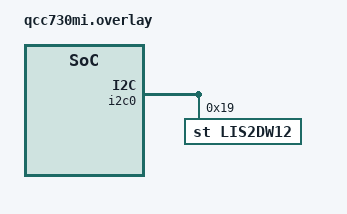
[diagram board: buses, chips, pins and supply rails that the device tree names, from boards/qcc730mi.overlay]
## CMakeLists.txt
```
# Copyright (c) 2025 Qualcomm Technologies, Inc. and/or its subsidiaries
# SPDX-License-Identifier: BSD-3-Clause-Clear

cmake_minimum_required(VERSION 3.20.0)

find_package(Zephyr REQUIRED HINTS $ENV{ZEPHYR_BASE})
project(i2c_lis2dw12_test)

FILE(GLOB app_sources src/*.c)
target_sources(app PRIVATE ${app_sources})
```

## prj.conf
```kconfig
# Copyright (c) 2025 Qualcomm Technologies, Inc. and/or its subsidiaries
# SPDX-License-Identifier: BSD-3-Clause-Clear
CONFIG_ZTEST=y
CONFIG_I2C=y
CONFIG_SENSOR=y
CONFIG_LIS2DW12=y
CONFIG_CBPRINTF_FP_SUPPORT=y
CONFIG_PM_DEVICE=y
CONFIG_MAIN_STACK_SIZE=2048
CONFIG_COUNTER=y
CONFIG_IDLE_STACK_SIZE=512
CONFIG_WIFI=y
CONFIG_WIFI_QCOM=y
CONFIG_NET_L2_WIFI_MGMT=y
CONFIG_NET_L2_ETHERNET=y
CONFIG_NETWORKING=y
CONFIG_NET_IPV4=y
CONFIG_NET_TCP=y
CONFIG_NET_UDP=y
CONFIG_NET_MGMT=y
CONFIG_ETH_DRIVER=n
CONFIG_TEST_RANDOM_GENERATOR=y
CONFIG_NET_L2_ETHERNET=y
CONFIG_NET_SHELL=y
CONFIG_NET_DHCPV4=y
CONFIG_NET_DHCPV4_SERVER=y
CONFIG_WIFI_QCOM_AUTO_DHCPV4=y
CONFIG_WIFI=y
CONFIG_WIFI_QCOM=y
CONFIG_NET_L2_WIFI_SHELL=y
CONFIG_NET_L2_WIFI_MGMT=y
```

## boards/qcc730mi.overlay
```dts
/*
 * Copyright (c) Qualcomm Technologies, Inc. and/or its subsidiaries.
 *
 * SPDX-License-Identifier: BSD-3-Clause-Clear
 */

&i2c0 {
	status = "okay";

	lis2dw12@19 {
		compatible = "st,lis2dw12";
		reg = <0x19>;
	};
};
```

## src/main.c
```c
/*
 * Copyright (c) 2025 Qualcomm Technologies, Inc. and/or its subsidiaries
 *
 * SPDX-License-Identifier: BSD-3-Clause-Clear
 */

#include <zephyr/kernel.h>
#include <zephyr/device.h>
#include <zephyr/drivers/sensor.h>
#include <zephyr/drivers/i2c.h>
#include <zephyr/ztest.h>
#include <zephyr/pm/device.h>
#include "ferm_i2c.h"

#define CONTINUOUS_TRANSFER_COUNT_TEST 1000U
#define LIS2DW12_DUMMY_INIT_VAL        99
#define LIS2DW12_TEST_TOLERANCE        0.9
#define LIS2DW12_STATIONARY_VAL        (double)0 /* Measurement result when sensor is not moved */
#define LIS2DW12_EARTH_ACCEL_VAL       (double)9.81 /* Earth acceleration in m/s^2 */

static const struct device *const lis2dw12_dev = DEVICE_DT_GET_ONE(st_lis2dw12);
static const struct device *const i2c_dev = DEVICE_DT_GET_ONE(qcom_qcc730_i2c);

ZTEST(lis2dw12_sensor_api_test, test_read_accel_values)
{
	struct sensor_value x_val = {LIS2DW12_DUMMY_INIT_VAL, LIS2DW12_DUMMY_INIT_VAL},
			    y_val = {LIS2DW12_DUMMY_INIT_VAL, LIS2DW12_DUMMY_INIT_VAL},
			    z_val = {LIS2DW12_DUMMY_INIT_VAL, LIS2DW12_DUMMY_INIT_VAL};
	int32_t ret = 0;

	ret = sensor_sample_fetch_chan(lis2dw12_dev, SENSOR_CHAN_ACCEL_XYZ);
	zassert_ok(ret, "Sample fetch failed!");

	ret = sensor_channel_get(lis2dw12_dev, SENSOR_CHAN_ACCEL_X, &x_val);
	zassert_ok(ret, "Failed to get X-axis acceleration!");

	ret = sensor_channel_get(lis2dw12_dev, SENSOR_CHAN_ACCEL_Y, &y_val);
	zassert_ok(ret, "Failed to get Y-axis acceleration!");

	ret = sensor_channel_get(lis2dw12_dev, SENSOR_CHAN_ACCEL_Z, &z_val);
	zassert_ok(ret, "Failed to get Z-axis acceleration!");

	TC_PRINT("Acceleration read OK: X=%.3f, Y=%.3f, Z=%.3f (m/s^2)\n",
		 (double)sensor_value_to_double(&x_val), (double)sensor_value_to_double(&y_val),
		 (double)sensor_value_to_double(&z_val));
}

ZTEST(lis2dw12_sensor_api_test, test_read_accel_values_fast_mode)
{
	struct sensor_value x_val = {LIS2DW12_DUMMY_INIT_VAL, LIS2DW12_DUMMY_INIT_VAL},
			    y_val = {LIS2DW12_DUMMY_INIT_VAL, LIS2DW12_DUMMY_INIT_VAL},
			    z_val = {LIS2DW12_DUMMY_INIT_VAL, LIS2DW12_DUMMY_INIT_VAL};
	int32_t ret = 0;

	/* Set fast speed mode */
	ret = i2c_configure(i2c_dev, I2C_MODE_CONTROLLER | I2C_SPEED_SET(I2C_SPEED_FAST));
	zassert_ok(ret, "Setting fast mode failed");

	ret = sensor_sample_fetch_chan(lis2dw12_dev, SENSOR_CHAN_ACCEL_XYZ);
	zassert_ok(ret, "Channel not specified, sample fetch from sensor should fail!");

	ret = sensor_channel_get(lis2dw12_dev, SENSOR_CHAN_ACCEL_X, &x_val);
	zassert_ok(ret, "Failed to get X-axis acceleration!");

	ret = sensor_channel_get(lis2dw12_dev, SENSOR_CHAN_ACCEL_Y, &y_val);
	zassert_ok(ret, "Failed to get Y-axis acceleration!");

	ret = sensor_channel_get(lis2dw12_dev, SENSOR_CHAN_ACCEL_Z, &z_val);
	zassert_ok(ret, "Failed to get Z-axis acceleration!");

	TC_PRINT("Acceleration read OK: X=%.3f, Y=%.3f, Z=%.3f (m/s^2)\n",
		 (double)sensor_value_to_double(&x_val), (double)sensor_value_to_double(&y_val),
		 (double)sensor_value_to_double(&z_val));

	/* Return to standard speed */
	ret = i2c_configure(i2c_dev, I2C_MODE_CONTROLLER | I2C_SPEED_SET(I2C_SPEED_STANDARD));
	zassert_ok(ret, "Setting standard mode failed");
}

ZTEST(lis2dw12_sensor_api_test, test_free_standing)
{
	struct sensor_value x = {LIS2DW12_DUMMY_INIT_VAL, LIS2DW12_DUMMY_INIT_VAL},
			    y = {LIS2DW12_DUMMY_INIT_VAL, LIS2DW12_DUMMY_INIT_VAL},
			    z = {LIS2DW12_DUMMY_INIT_VAL, LIS2DW12_DUMMY_INIT_VAL};
	int32_t ret = 0;

	ret = sensor_sample_fetch_chan(lis2dw12_dev, SENSOR_CHAN_ACCEL_XYZ);
	zassert_ok(ret, "Sample fetch failed!");

	ret = sensor_channel_get(lis2dw12_dev, SENSOR_CHAN_ACCEL_X, &x);
	zassert_ok(ret, "Failed to get X-axis acceleration!");

	ret = sensor_channel_get(lis2dw12_dev, SENSOR_CHAN_ACCEL_Y, &y);
	zassert_ok(ret, "Failed to get Y-axis acceleration!");

	ret = sensor_channel_get(lis2dw12_dev, SENSOR_CHAN_ACCEL_Z, &z);
	zassert_ok(ret, "Failed to get Z-axis acceleration!");

	zassert_within(sensor_value_to_double(&x), LIS2DW12_STATIONARY_VAL, LIS2DW12_TEST_TOLERANCE,
		       "Sensor should not move! X-axis acceleration is not close to 0!");
	zassert_within(sensor_value_to_double(&y), LIS2DW12_STATIONARY_VAL, LIS2DW12_TEST_TOLERANCE,
		       "Sensor should not move! Y-axis acceleration is not close to 0!");
	zassert_within(sensor_value_to_double(&z),
		       LIS2DW12_EARTH_ACCEL_VAL - LIS2DW12_TEST_TOLERANCE,
		       LIS2DW12_EARTH_ACCEL_VAL + LIS2DW12_TEST_TOLERANCE,
		       "Sensor should not move! Z-axis acceleration is not close to 0!");
}

ZTEST(lis2dw12_sensor_api_test, test_continuous_data_transfer)
{
	struct sensor_value x = {LIS2DW12_DUMMY_INIT_VAL, LIS2DW12_DUMMY_INIT_VAL};
	int32_t ret = 0;

	TC_PRINT("Starting continuous data transfer test (%u samples)...\n",
		 CONTINUOUS_TRANSFER_COUNT_TEST);

	for (uint32_t i = 0; i < CONTINUOUS_TRANSFER_COUNT_TEST; i++) {
		ret = sensor_sample_fetch_chan(lis2dw12_dev, SENSOR_CHAN_ACCEL_X);
		zassert_ok(ret, "Sample fetch failed!");
		ret = sensor_channel_get(lis2dw12_dev, SENSOR_CHAN_ACCEL_X, &x);
		zassert_ok(ret, "sensor_channel_get failed on iteration %u!", i);
		TC_PRINT("Got sample %u: X=%.3f m/s^2\n", i, (double)sensor_value_to_double(&x));
		zassert_within(sensor_value_to_double(&x), LIS2DW12_STATIONARY_VAL,
			       LIS2DW12_TEST_TOLERANCE,
			       "Sensor should not move! X-axis accel is not close to 0!");
		/* Ensure we get fresh data from sample on each iteration */
		x.val1 = LIS2DW12_DUMMY_INIT_VAL;
		x.val2 = LIS2DW12_DUMMY_INIT_VAL;
		k_sleep(K_MSEC(5));
	}
}

ZTEST(lis2dw12_sensor_api_test, test_error_handling)
{
	int ret;

	/* Verify that configuration without Controller mode will fail */
	ret = i2c_configure(i2c_dev, 0);
	zassert_equal(ret, -EINVAL,
		      "Configuration without CONTROLLER mode set should be impossible");

	/* Verify that zero messages to send will return without error */
	ret = i2c_transfer(i2c_dev, NULL, 0, 0);
	zassert_equal(ret, 0, "Call i2c_transfer without messages failed");

	/* Verify that messages with 10bit addressing will return error */
	struct i2c_msg msg_with_10bit_addr = {.flags = I2C_MSG_ADDR_10_BITS};
	ret = i2c_transfer(i2c_dev, &msg_with_10bit_addr, 1, 0);
	zassert_equal(ret, -ENOTSUP, "10bit addressing wasn't rejected properly");
}

ZTEST(lis2dw12_sensor_api_test, test_suspend_resume_success)
{
	int ret;

	/* First do a normal I2C transfer to ensure device is working
	 * (WHO_AM_I register) */
	uint8_t write_buf[1] = {0x44};
	ret = i2c_write(i2c_dev, write_buf, sizeof(write_buf), 0x19);
	zassert_true(ret == 0, "Initial I2C write failed");

	/* Suspend device */
	ret = pm_device_action_run(i2c_dev, PM_DEVICE_ACTION_SUSPEND);
	zassert_true(ret == 0, "Suspend action failed");

	ret = i2c_write(i2c_dev, write_buf, sizeof(write_buf), 0x19);
	/* -EBUSY error is expected */
	zassert_true(ret < 0, "I2C write after suspend failed unexpectedly");

	/* Resume device explicitly */
	ret = pm_device_action_run(i2c_dev, PM_DEVICE_ACTION_RESUME);
	zassert_true(ret == 0, "Resume action failed");

	/* After resume, transfer must work again */
	ret = i2c_write(i2c_dev, write_buf, sizeof(write_buf), 0x19);
	zassert_true(ret == 0, "I2C write after resume failed");
}

static void *lis2dw12_test_setup(void)
{
	zassert_true(device_is_ready(i2c_dev), "I2C device is not ready");
	zassert_true(device_is_ready(lis2dw12_dev), "LIS2DW12 sensor device is not ready");
	return NULL;
}

ZTEST_SUITE(lis2dw12_sensor_api_test, NULL, lis2dw12_test_setup, NULL, NULL, NULL);
```
